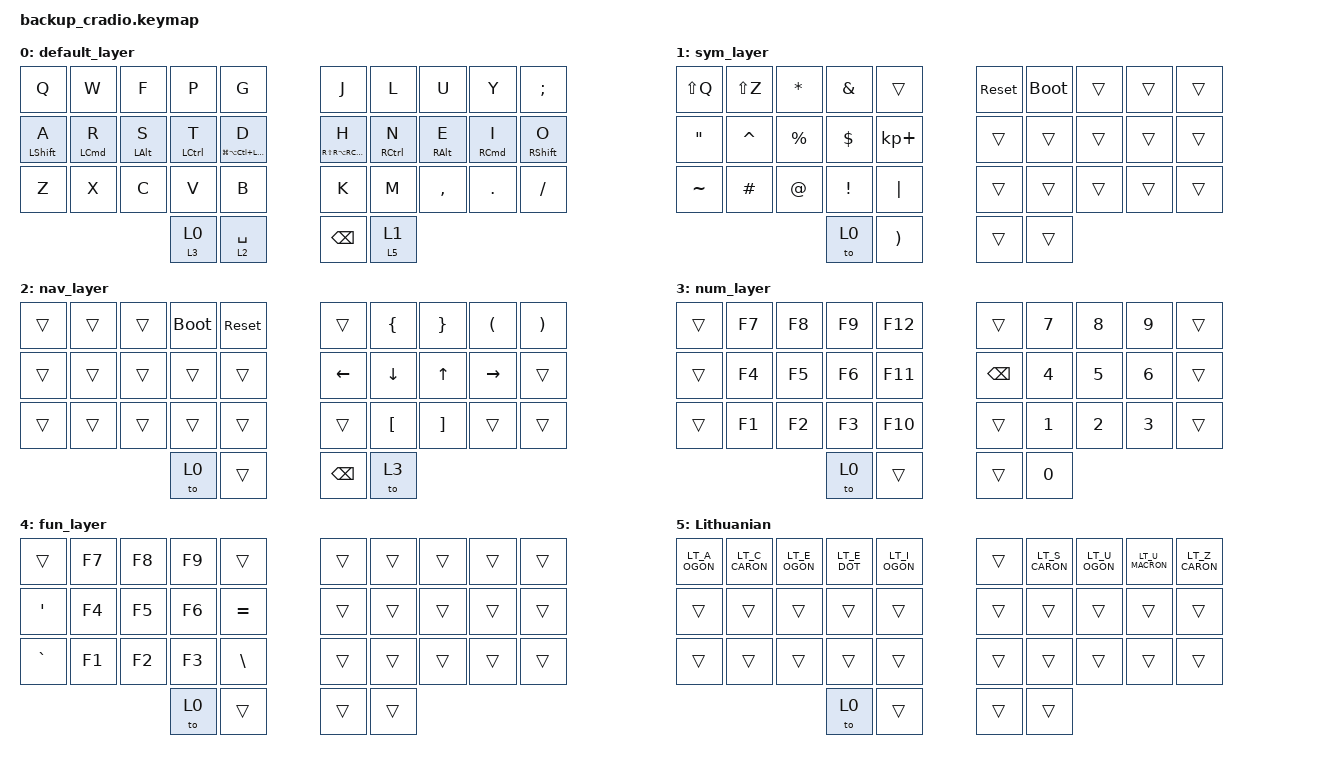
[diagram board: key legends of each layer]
/*
 * Copyright (c) 2020 The ZMK Contributors
 *
 * SPDX-License-Identifier: MIT
 */

#include "keys_lt.h"
#include <behaviors.dtsi>
#include <dt-bindings/zmk/keys.h>

#define COLEMAK 0
#define NAV 1
#define NUM 2
#define SYM 3
#define FUN 4

/* krita base */

#define KRB 5

/* play */

#define PLAY 6

&mt {
    flavor = "tap-preferred";
    tapping_term_ms = <200>;
    quick_tap_ms = <75>;
};

/ {
    combos {
        compatible = "zmk,combos";

        combo_caps_word {
            timeout-ms = <100>;
            key-positions = <20 29>;
            bindings = <&caps_word>;
        };

        combo_esc {
            timeout-ms = <150>;
            key-positions = <10 19>;
            bindings = <&kp ESC>;
        };

        // (
        // )
        // {
        // }
        // [
        // ]
        // <
        // >

        combo_tab {
            bindings = <&kp TAB>;
            key-positions = <1 2>;
        };

        combo_enter {
            bindings = <&kp ENTER>;
            key-positions = <12 13>;
        };
    };

    behaviors {
        to_to: to_to {
            compatible = "zmk,behavior-hold-tap";
            label = "TO_TO";
            bindings = <&to>, <&to>;

            #binding-cells = <2>;
            tapping-term-ms = <200>;
        };
    };

    keymap {
        compatible = "zmk,keymap";

        default_layer {
            bindings = <
&kp Q             &kp W               &kp F           &kp P               &kp G                           &kp J                   &kp L                &kp U            &kp Y                &kp SEMICOLON
&mt LEFT_SHIFT A  &mt LEFT_COMMAND R  &mt LEFT_ALT S  &mt LEFT_CONTROL T  &mt LG(LA(LC(LEFT_SHIFT))) D    &mt RS(RA(RC(RGUI))) H  &mt RIGHT_CONTROL N  &mt RIGHT_ALT E  &mt RIGHT_COMMAND I  &mt RIGHT_SHIFT O
&kp Z             &kp X               &kp C           &kp V               &kp B                           &kp K                   &kp M                &kp COMMA        &kp DOT              &kp FSLH
                                                      &to_to 3 0          &lt 2 SPACE                     &kp BACKSPACE           &to_to 5 1
            >;
        };

        sym_layer {
            bindings = <
&kp LS(Q)  &kp LS(Z)  &kp STAR   &kp AMPS  &trans         &sys_reset  &bootloader  &trans  &trans  &trans
&kp DQT    &kp CARET  &kp PRCNT  &kp DLLR  &kp KP_PLUS    &trans      &trans       &trans  &trans  &trans
&kp TILDE  &kp HASH   &kp AT     &kp EXCL  &kp PIPE       &trans      &trans       &trans  &trans  &trans
                                 &to 0     &kp RPAR       &trans      &trans
            >;
        };

        nav_layer {
            bindings = <
&trans  &trans  &trans  &bootloader  &sys_reset    &trans         &kp LBRC  &kp RBRC  &kp LPAR   &kp RPAR
&trans  &trans  &trans  &trans       &trans        &kp LEFT       &kp DOWN  &kp UP    &kp RIGHT  &trans
&trans  &trans  &trans  &trans       &trans        &trans         &kp LBKT  &kp RBKT  &trans     &trans
                        &to 0        &trans        &kp BACKSPACE  &to 3
            >;
        };

        num_layer {
            bindings = <
&trans  &kp F7  &kp F8  &kp F9  &kp F12    &trans    &kp N7  &kp N8  &kp N9  &trans
&trans  &kp F4  &kp F5  &kp F6  &kp F11    &kp BSPC  &kp N4  &kp N5  &kp N6  &trans
&trans  &kp F1  &kp F2  &kp F3  &kp F10    &trans    &kp N1  &kp N2  &kp N3  &trans
                        &to 0   &trans     &trans    &kp N0
            >;
        };

        fun_layer {
            bindings = <
&trans     &kp F7  &kp F8  &kp F9  &trans       &trans  &trans  &trans  &trans  &trans
&kp SQT    &kp F4  &kp F5  &kp F6  &kp EQUAL    &trans  &trans  &trans  &trans  &trans
&kp GRAVE  &kp F1  &kp F2  &kp F3  &kp BSLH     &trans  &trans  &trans  &trans  &trans
                           &to 0   &trans       &trans  &trans
            >;
        };

        Lithuanian {
            bindings = <
&kp LT_A_OGON  &kp LT_C_CARON  &kp LT_E_OGON  &kp LT_E_DOT  &kp LT_I_OGON    &trans  &kp LT_S_CARON  &kp LT_U_OGON  &kp LT_U_MACRON  &kp LT_Z_CARON
&trans         &trans          &trans         &trans        &trans           &trans  &trans          &trans         &trans           &trans
&trans         &trans          &trans         &trans        &trans           &trans  &trans          &trans         &trans           &trans
                                              &to 0         &trans           &trans  &trans
            >;
        };
    };
};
